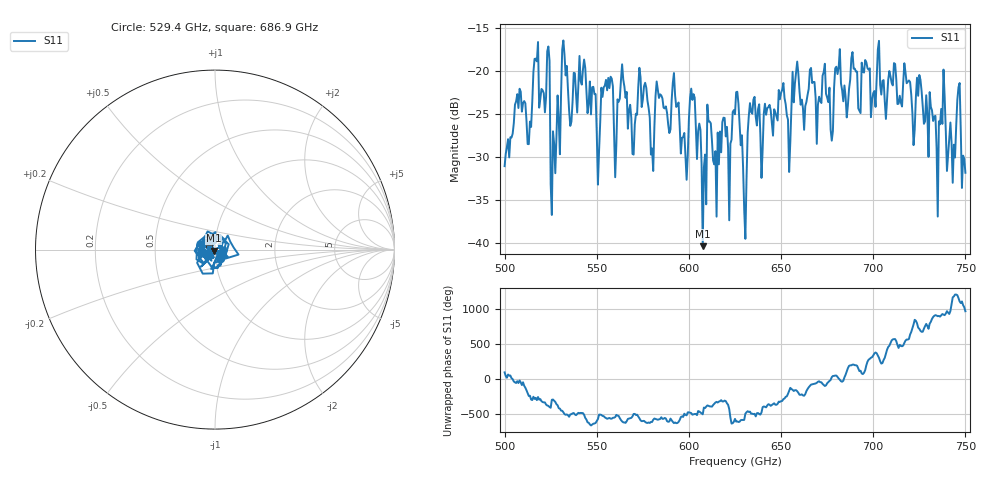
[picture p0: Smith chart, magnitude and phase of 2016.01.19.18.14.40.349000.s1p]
!Created with skrf (http://scikit-rf.org).
# GHz S RI R 50.0
!freq ReS11 ImS11
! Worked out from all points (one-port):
!   401 points, 500 GHz to 750 GHz, reference 50 ohm
!   lowest |S11| = -40.4 dB at 607.5 GHz (marker M1), VSWR 1.02, Z = 49.2 - j0.528 ohm
!   |S11| at or under -10 dB: start of sweep to end of sweep
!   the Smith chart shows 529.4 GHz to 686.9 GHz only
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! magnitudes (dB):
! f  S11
! 500 GHz  -31.1
! 507.5 GHz  -24.3
! 513.1 GHz  -28.5
! 516.9 GHz  -18.6
! 523.1 GHz  -17.7
! 526.2 GHz  -27.0
! 531.2 GHz  -17.5
! 541.9 GHz  -21.6
! 550.6 GHz  -33.2
! 562.5 GHz  -23.2
! 570 GHz  -29.7
! 576.9 GHz  -22.0
! 580 GHz  -29.0
! 583.1 GHz  -22.2
! 593.8 GHz  -24.0
! 598.1 GHz  -30.1
! 601.9 GHz  -23.4
! 607.5 GHz  -40.4
! 621.9 GHz  -37.4
! 625 GHz  -25.0
! 630 GHz  -36.2
! 634.4 GHz  -25.0
! 656.2 GHz  -20.1
! 687.5 GHz  -21.0
! 718.8 GHz  -21.3
! 735 GHz  -36.9
! 746.2 GHz  -21.9
! 750 GHz  -31.8
